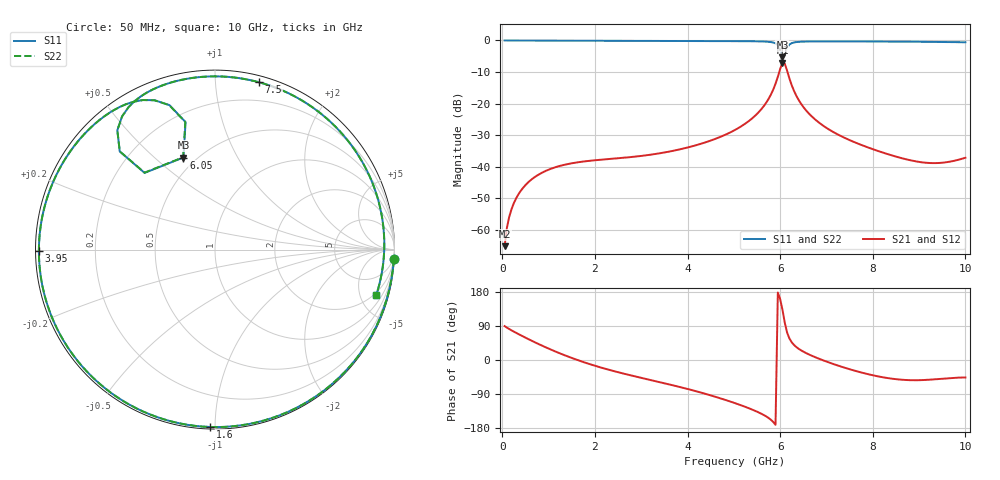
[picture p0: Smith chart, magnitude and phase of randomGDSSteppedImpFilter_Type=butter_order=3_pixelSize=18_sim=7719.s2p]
! freq	dB(S11)	phase(S11)	dB(S12)	phase(S12)
!  dB(S21)	phase(S21)	dB(S22)	phase(S22)
!S-par simulation data
#  GHz  S  DB  R 50
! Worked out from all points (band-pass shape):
!   200 points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, 50 MHz to 10 GHz, reference 50 ohm
!   highest |S21| = -7.09 dB at 6.05 GHz (marker M1); lowest = -65.2 dB at 50 MHz (marker M2)
!   |S21| within 3 dB of the highest: 5.979 GHz to 6.16 GHz (181 MHz wide, 2.98 % of centre)
!   lowest |S11| = -5.3 dB at 6.05 GHz (marker M3), VSWR 3.37, Z = 21.4 + j31.2 ohm
!   |S11| at or under -10 dB: nowhere
!   |S22| runs from -5.3 to 0.0 dB; largest |S21 - S12| = 0
!   S11 on the Smith chart (normalised r, x): 50 MHz: 1, -37; 1.6 GHz: 0.01, -0.97; 3.95 GHz: 0.01, -0.00; 6.05 GHz: 0.43, +0.62; 7.5 GHz: 0.05, +1.30; 10 GHz: 1.72, -6.79
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0.05  -0.02 -3.1  -65.17 89.5  -65.17 89.5  -0.02 -3.1
0.1  -0.03 -6.2  -59.33 85.3  -59.33 85.3  -0.03 -6.2
0.2  -0.03 -12.6  -53.41 78.2  -53.41 78.2  -0.03 -12.6
0.45  -0.04 -28.2  -46.66 62.1  -46.66 62.1  -0.04 -28.2
1  -0.07 -60.5  -40.94 30.1  -40.94 30.1  -0.07 -60.5
1.6  -0.10 -91.6  -38.67 1.0  -38.67 1.0  -0.10 -91.6
1.75  -0.10 -98.6  -38.36 -5.4  -38.36 -5.4  -0.10 -98.6
2.55  -0.13 -132.1  -37.26 -33.8  -37.26 -33.8  -0.13 -132.1
3.4  -0.15 -161.9  -35.75 -58.5  -35.75 -58.5  -0.15 -161.9
3.95  -0.16 -179.4  -34.11 -74.8  -34.11 -74.8  -0.16 -179.4
5.05  -0.22 146.7  -28.16 -114.9  -28.16 -114.9  -0.22 146.8
5.55  -0.31 129.9  -22.51 -139.1  -22.51 -139.1  -0.31 130.0
5.85  -0.68 115.7  -15.60 -163.5  -15.60 -163.5  -0.68 115.8
5.95  -1.48 107.5  -11.53 178.1  -11.53 178.1  -1.47 107.6
6.05  -5.31 108.9  -7.09 132.5  -7.09 132.5  -5.28 109.0
6.1  -4.73 132.5  -7.38 98.2  -7.38 98.2  -4.71 132.5
6.2  -1.32 129.3  -12.06 56.8  -12.06 56.8  -1.31 129.3
6.7  -0.32 103.2  -24.32 10.3  -24.32 10.3  -0.32 103.2
7.5  -0.32 75.2  -31.58 -24.4  -31.58 -24.4  -0.32 75.2
8.35  -0.37 45.3  -36.15 -48.2  -36.15 -48.2  -0.37 45.3
9.2  -0.45 14.1  -38.81 -52.2  -38.81 -52.2  -0.45 14.2
10  -0.60 -15.8  -37.17 -46.1  -37.17 -46.1  -0.60 -15.7
